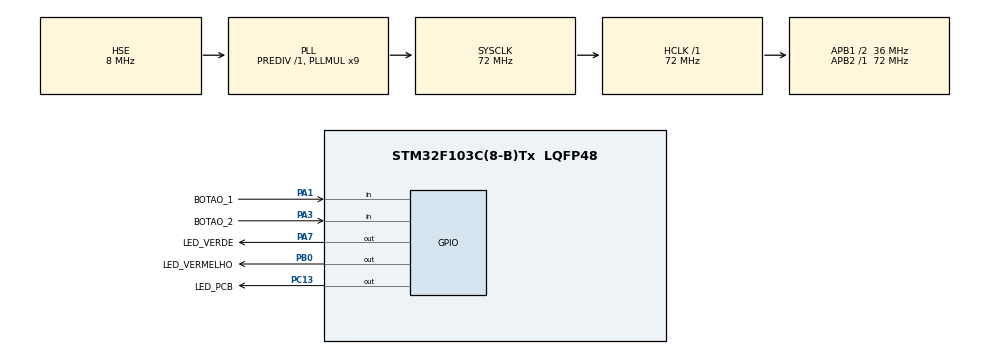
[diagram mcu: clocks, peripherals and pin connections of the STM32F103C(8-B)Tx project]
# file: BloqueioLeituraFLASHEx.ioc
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Mcu.Family=STM32F1
Mcu.Name=STM32F103C(8-B)Tx
Mcu.Package=LQFP48
NVIC.PriorityGroup=NVIC_PRIORITYGROUP_4
PA1.GPIO_Label=BOTAO_1
PA1.GPIO_PuPd=GPIO_PULLUP
PA1.Signal=GPIO_Input
PA13.Mode=Serial_Wire
PA13.Signal=SYS_JTMS-SWDIO
PA14.Mode=Serial_Wire
PA14.Signal=SYS_JTCK-SWCLK
PA3.GPIO_Label=BOTAO_2
PA3.GPIO_PuPd=GPIO_PULLUP
PA3.Signal=GPIO_Input
PA7.GPIO_Label=LED_VERDE
PA7.Signal=GPIO_Output
PB0.GPIO_Label=LED_VERMELHO
PB0.Signal=GPIO_Output
PC13-TAMPER-RTC.GPIO_Label=LED_PCB
PC13-TAMPER-RTC.Signal=GPIO_Output
PC14-OSC32_IN.Mode=LSE-External-Oscillator
PC14-OSC32_IN.Signal=RCC_OSC32_IN
PC15-OSC32_OUT.Mode=LSE-External-Oscillator
PC15-OSC32_OUT.Signal=RCC_OSC32_OUT
PD0-OSC_IN.Mode=HSE-External-Oscillator
PD0-OSC_IN.Signal=RCC_OSC_IN
PD1-OSC_OUT.Mode=HSE-External-Oscillator
PD1-OSC_OUT.Signal=RCC_OSC_OUT
ProjectManager.HeapSize=0x200
ProjectManager.StackSize=0x400
ProjectManager.TargetToolchain=STM32CubeIDE
RCC.AHBFreq_Value=72000000
RCC.APB1CLKDivider=RCC_HCLK_DIV2
RCC.APB1Freq_Value=36000000
RCC.APB1TimFreq_Value=72000000
RCC.APB2Freq_Value=72000000
RCC.APB2TimFreq_Value=72000000
RCC.HCLKFreq_Value=72000000
RCC.PLLMUL=RCC_PLL_MUL9
RCC.PLLSourceVirtual=RCC_PLLSOURCE_HSE
RCC.SYSCLKFreq_VALUE=72000000
RCC.SYSCLKSource=RCC_SYSCLKSOURCE_PLLCLK
RCC.USBFreq_Value=72000000
board=custom

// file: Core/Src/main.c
/* USER CODE BEGIN Header */
/**
  ******************************************************************************
  * @file           : main.c
  * @brief          : Main program body
  ******************************************************************************
  * @attention
  *
  * <h2><center>&copy; Copyright (c) 2022 STMicroelectronics.
  * All rights reserved.</center></h2>
  *
  * This software component is licensed by ST under BSD 3-Clause license,
  * the "License"; You may not use this file except in compliance with the
  * License. You may obtain a copy of the License at:
  *                        opensource.org/licenses/BSD-3-Clause
  *
  ******************************************************************************
  */
/* USER CODE END Header */
#include "main.h"

/* USER CODE BEGIN Includes */

#include "ProtecaoFlash.h"

/* USER CODE END Includes */

void SystemClock_Config(void);
static void MX_GPIO_Init(void);

int main(void)
{

  /* MCU Configuration--------------------------------------------------------*/

  /* Reset of all peripherals, Initializes the Flash interface and the Systick. */
  HAL_Init();

  /* Configure the system clock */
  SystemClock_Config();

  /* Initialize all configured peripherals */
  MX_GPIO_Init();

  /* Infinite loop */
  /* USER CODE BEGIN WHILE */

  unsigned char estado;

  // Inicializa LEDs e máquina de estados de acordo com proteção da FLASH (RDP bits)
  if(LerBitsRDP() == RDP_LEVEL_0){
	  estado = 0;
	  HAL_GPIO_WritePin(LED_VERDE_GPIO_Port, LED_VERDE_Pin,GPIO_PIN_SET);
	  HAL_GPIO_WritePin(LED_VERMELHO_GPIO_Port, LED_VERMELHO_Pin,GPIO_PIN_RESET);
  }
  else{
	  estado = 1;
	  HAL_GPIO_WritePin(LED_VERDE_GPIO_Port, LED_VERDE_Pin,GPIO_PIN_RESET);
	  HAL_GPIO_WritePin(LED_VERMELHO_GPIO_Port, LED_VERMELHO_Pin,GPIO_PIN_SET);
  }

  while (1)
  {

	switch (estado){
		case 0:
			// Bloqueia leitura da FLASH (BOTAO 1 PRESSIONADO)
			if (!HAL_GPIO_ReadPin(BOTAO_1_GPIO_Port, BOTAO_1_Pin) && HAL_GPIO_ReadPin(BOTAO_2_GPIO_Port, BOTAO_2_Pin)){
				estado = 1;
				BloquearLeituraDaFlash();
				HAL_GPIO_WritePin(LED_VERDE_GPIO_Port, LED_VERDE_Pin, GPIO_PIN_RESET);
				HAL_GPIO_WritePin(LED_VERMELHO_GPIO_Port, LED_VERMELHO_Pin, GPIO_PIN_SET);
			}
		break;
		case 1:
			// Desbloqueia leitura da FLASH (BOTAO 2 PRESSIONADO)
			if (HAL_GPIO_ReadPin(BOTAO_1_GPIO_Port, BOTAO_1_Pin) && !HAL_GPIO_ReadPin(BOTAO_2_GPIO_Port, BOTAO_2_Pin)){
				estado = 0;
				DesbloquearLeituraDaFlash();
				HAL_GPIO_WritePin(LED_VERDE_GPIO_Port, LED_VERDE_Pin, GPIO_PIN_SET);
				HAL_GPIO_WritePin(LED_VERMELHO_GPIO_Port, LED_VERMELHO_Pin, GPIO_PIN_RESET);
			}
		break;
	}

	// Pisca LED
	HAL_GPIO_TogglePin(LED_PCB_GPIO_Port, LED_PCB_Pin);
	HAL_Delay(250);

    /* USER CODE END WHILE */

  }
}

void SystemClock_Config(void)
{
  RCC_OscInitTypeDef RCC_OscInitStruct = {0};
  RCC_ClkInitTypeDef RCC_ClkInitStruct = {0};

  /** Initializes the RCC Oscillators according to the specified parameters
  * in the RCC_OscInitTypeDef structure.
  */
  RCC_OscInitStruct.OscillatorType = RCC_OSCILLATORTYPE_HSE;
  RCC_OscInitStruct.HSEState = RCC_HSE_ON;
  RCC_OscInitStruct.HSEPredivValue = RCC_HSE_PREDIV_DIV1;
  RCC_OscInitStruct.HSIState = RCC_HSI_ON;
  RCC_OscInitStruct.PLL.PLLState = RCC_PLL_ON;
  RCC_OscInitStruct.PLL.PLLSource = RCC_PLLSOURCE_HSE;
  RCC_OscInitStruct.PLL.PLLMUL = RCC_PLL_MUL9;
  if (HAL_RCC_OscConfig(&RCC_OscInitStruct) != HAL_OK)
  {
    Error_Handler();
  }
  /** Initializes the CPU, AHB and APB buses clocks
  */
  RCC_ClkInitStruct.ClockType = RCC_CLOCKTYPE_HCLK|RCC_CLOCKTYPE_SYSCLK
                              |RCC_CLOCKTYPE_PCLK1|RCC_CLOCKTYPE_PCLK2;
  RCC_ClkInitStruct.SYSCLKSource = RCC_SYSCLKSOURCE_PLLCLK;
  RCC_ClkInitStruct.AHBCLKDivider = RCC_SYSCLK_DIV1;
  RCC_ClkInitStruct.APB1CLKDivider = RCC_HCLK_DIV2;
  RCC_ClkInitStruct.APB2CLKDivider = RCC_HCLK_DIV1;

  if (HAL_RCC_ClockConfig(&RCC_ClkInitStruct, FLASH_LATENCY_2) != HAL_OK)
  {
    Error_Handler();
  }
}

static void MX_GPIO_Init(void)
{
  GPIO_InitTypeDef GPIO_InitStruct = {0};

  /* GPIO Ports Clock Enable */
  __HAL_RCC_GPIOC_CLK_ENABLE();
  __HAL_RCC_GPIOD_CLK_ENABLE();
  __HAL_RCC_GPIOA_CLK_ENABLE();
  __HAL_RCC_GPIOB_CLK_ENABLE();

  /*Configure GPIO pin Output Level */
  HAL_GPIO_WritePin(LED_PCB_GPIO_Port, LED_PCB_Pin, GPIO_PIN_RESET);

  /*Configure GPIO pin Output Level */
  HAL_GPIO_WritePin(LED_VERDE_GPIO_Port, LED_VERDE_Pin, GPIO_PIN_RESET);

  /*Configure GPIO pin Output Level */
  HAL_GPIO_WritePin(LED_VERMELHO_GPIO_Port, LED_VERMELHO_Pin, GPIO_PIN_RESET);

  /*Configure GPIO pin : LED_PCB_Pin */
  GPIO_InitStruct.Pin = LED_PCB_Pin;
  GPIO_InitStruct.Mode = GPIO_MODE_OUTPUT_PP;
  GPIO_InitStruct.Pull = GPIO_NOPULL;
  GPIO_InitStruct.Speed = GPIO_SPEED_FREQ_LOW;
  HAL_GPIO_Init(LED_PCB_GPIO_Port, &GPIO_InitStruct);

  /*Configure GPIO pins : BOTAO_1_Pin BOTAO_2_Pin */
  GPIO_InitStruct.Pin = BOTAO_1_Pin|BOTAO_2_Pin;
  GPIO_InitStruct.Mode = GPIO_MODE_INPUT;
  GPIO_InitStruct.Pull = GPIO_PULLUP;
  HAL_GPIO_Init(GPIOA, &GPIO_InitStruct);

  /*Configure GPIO pin : LED_VERDE_Pin */
  GPIO_InitStruct.Pin = LED_VERDE_Pin;
  GPIO_InitStruct.Mode = GPIO_MODE_OUTPUT_PP;
  GPIO_InitStruct.Pull = GPIO_NOPULL;
  GPIO_InitStruct.Speed = GPIO_SPEED_FREQ_LOW;
  HAL_GPIO_Init(LED_VERDE_GPIO_Port, &GPIO_InitStruct);

  /*Configure GPIO pin : LED_VERMELHO_Pin */
  GPIO_InitStruct.Pin = LED_VERMELHO_Pin;
  GPIO_InitStruct.Mode = GPIO_MODE_OUTPUT_PP;
  GPIO_InitStruct.Pull = GPIO_NOPULL;
  GPIO_InitStruct.Speed = GPIO_SPEED_FREQ_LOW;
  HAL_GPIO_Init(LED_VERMELHO_GPIO_Port, &GPIO_InitStruct);

}

void Error_Handler(void)
{
  __disable_irq();
  while (1)
  {
  }
}

/************************ (C) COPYRIGHT STMicroelectronics *****END OF FILE****/
